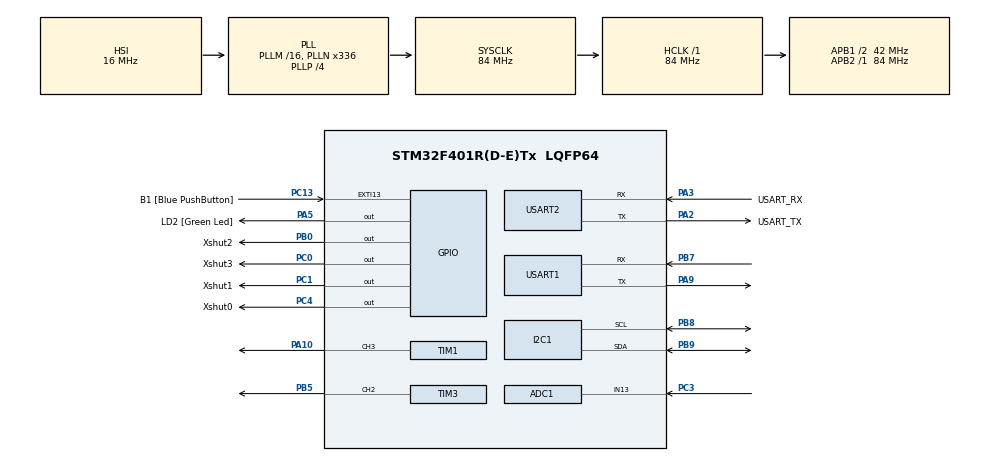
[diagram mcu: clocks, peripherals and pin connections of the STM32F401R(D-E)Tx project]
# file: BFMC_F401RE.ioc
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ADC1.Channel-5\#ChannelRegularConversion=ADC_CHANNEL_13
ADC1.ContinuousConvMode=ENABLE
ADC1.DMAContinuousRequests=ENABLE
ADC1.NbrOfConversion=1
ADC1.NbrOfConversionFlag=1
ADC1.Rank-5\#ChannelRegularConversion=1
ADC1.SamplingTime-5\#ChannelRegularConversion=ADC_SAMPLETIME_56CYCLES
ADC1.ScanConvMode=ENABLE
ADC1.master=1
Dma.ADC1.1.Direction=DMA_PERIPH_TO_MEMORY
Dma.ADC1.1.FIFOMode=DMA_FIFOMODE_DISABLE
Dma.ADC1.1.Instance=DMA2_Stream0
Dma.ADC1.1.MemDataAlignment=DMA_MDATAALIGN_WORD
Dma.ADC1.1.MemInc=DMA_MINC_ENABLE
Dma.ADC1.1.Mode=DMA_CIRCULAR
Dma.ADC1.1.PeriphDataAlignment=DMA_PDATAALIGN_WORD
Dma.ADC1.1.PeriphInc=DMA_PINC_DISABLE
Dma.ADC1.1.Priority=DMA_PRIORITY_LOW
Dma.I2C1_RX.2.Direction=DMA_PERIPH_TO_MEMORY
Dma.I2C1_RX.2.FIFOMode=DMA_FIFOMODE_DISABLE
Dma.I2C1_RX.2.Instance=DMA1_Stream0
Dma.I2C1_RX.2.MemDataAlignment=DMA_MDATAALIGN_BYTE
Dma.I2C1_RX.2.MemInc=DMA_MINC_ENABLE
Dma.I2C1_RX.2.Mode=DMA_NORMAL
Dma.I2C1_RX.2.PeriphDataAlignment=DMA_PDATAALIGN_BYTE
Dma.I2C1_RX.2.PeriphInc=DMA_PINC_DISABLE
Dma.I2C1_RX.2.Priority=DMA_PRIORITY_LOW
Dma.I2C1_TX.3.Direction=DMA_MEMORY_TO_PERIPH
Dma.I2C1_TX.3.FIFOMode=DMA_FIFOMODE_DISABLE
Dma.I2C1_TX.3.Instance=DMA1_Stream6
Dma.I2C1_TX.3.MemDataAlignment=DMA_MDATAALIGN_BYTE
Dma.I2C1_TX.3.MemInc=DMA_MINC_ENABLE
Dma.I2C1_TX.3.Mode=DMA_NORMAL
Dma.I2C1_TX.3.PeriphDataAlignment=DMA_PDATAALIGN_BYTE
Dma.I2C1_TX.3.PeriphInc=DMA_PINC_DISABLE
Dma.I2C1_TX.3.Priority=DMA_PRIORITY_LOW
Dma.Request0=USART2_RX
Dma.Request1=ADC1
Dma.Request2=I2C1_RX
Dma.Request3=I2C1_TX
Dma.USART2_RX.0.Direction=DMA_PERIPH_TO_MEMORY
Dma.USART2_RX.0.FIFOMode=DMA_FIFOMODE_DISABLE
Dma.USART2_RX.0.Instance=DMA1_Stream5
Dma.USART2_RX.0.MemDataAlignment=DMA_MDATAALIGN_BYTE
Dma.USART2_RX.0.MemInc=DMA_MINC_ENABLE
Dma.USART2_RX.0.Mode=DMA_NORMAL
Dma.USART2_RX.0.PeriphDataAlignment=DMA_PDATAALIGN_BYTE
Dma.USART2_RX.0.PeriphInc=DMA_PINC_DISABLE
Dma.USART2_RX.0.Priority=DMA_PRIORITY_LOW
FREERTOS.Tasks01=defaultTask,24,128,StartDefaultTask,Default,NULL,Dynamic,NULL,NULL
FREERTOS.configTOTAL_HEAP_SIZE=24000
Mcu.Family=STM32F4
Mcu.Name=STM32F401R(D-E)Tx
Mcu.Package=LQFP64
NVIC.DMA1_Stream0_IRQn=true\:5\:0\:false\:false\:true\:true\:false\:true\:true
NVIC.DMA1_Stream5_IRQn=true\:5\:0\:false\:false\:true\:true\:false\:true\:true
NVIC.DMA1_Stream6_IRQn=true\:5\:0\:false\:false\:true\:true\:false\:true\:true
NVIC.DMA2_Stream0_IRQn=true\:15\:0\:true\:false\:true\:true\:false\:true\:true
NVIC.I2C1_EV_IRQn=true\:5\:0\:false\:false\:true\:true\:true\:true\:true
NVIC.PriorityGroup=NVIC_PRIORITYGROUP_4
NVIC.TIM1_UP_TIM10_IRQn=true\:15\:0\:false\:false\:true\:false\:false\:true\:true
NVIC.TimeBase=TIM1_UP_TIM10_IRQn
NVIC.TimeBaseIP=TIM10
NVIC.USART2_IRQn=true\:5\:0\:false\:false\:true\:true\:true\:true\:true
PA10.Signal=S_TIM1_CH3
PA13.GPIO_Label=TMS
PA13.Mode=Serial_Wire
PA13.Signal=SYS_JTMS-SWDIO
PA14.GPIO_Label=TCK
PA14.Mode=Serial_Wire
PA14.Signal=SYS_JTCK-SWCLK
PA2.GPIO_Label=USART_TX
PA2.GPIO_Mode=GPIO_MODE_AF_PP
PA2.GPIO_PuPd=GPIO_NOPULL
PA2.GPIO_Speed=GPIO_SPEED_FREQ_LOW
PA2.Mode=Asynchronous
PA2.Signal=USART2_TX
PA3.GPIO_Label=USART_RX
PA3.GPIO_Mode=GPIO_MODE_AF_PP
PA3.GPIO_PuPd=GPIO_NOPULL
PA3.GPIO_Speed=GPIO_SPEED_FREQ_LOW
PA3.Mode=Asynchronous
PA3.Signal=USART2_RX
PA5.GPIO_Label=LD2 [Green Led]
PA5.GPIO_Mode=GPIO_MODE_OUTPUT_PP
PA5.GPIO_PuPd=GPIO_NOPULL
PA5.GPIO_Speed=GPIO_SPEED_FREQ_LOW
PA5.Signal=GPIO_Output
PA9.Mode=Asynchronous
PA9.Signal=USART1_TX
PB0.GPIO_Label=Xshut2
PB0.Signal=GPIO_Output
PB3.GPIO_Label=SWO
PB3.Signal=SYS_JTDO-SWO
PB5.Signal=S_TIM3_CH2
PB7.Mode=Asynchronous
PB7.Signal=USART1_RX
PB8.Mode=I2C
PB8.Signal=I2C1_SCL
PB9.Mode=I2C
PB9.Signal=I2C1_SDA
PC0.GPIO_Label=Xshut3
PC0.Signal=GPIO_Output
PC1.GPIO_Label=Xshut1
PC1.Signal=GPIO_Output
PC13-ANTI_TAMP.GPIO_Label=B1 [Blue PushButton]
PC13-ANTI_TAMP.GPIO_ModeDefaultEXTI=GPIO_MODE_IT_FALLING
PC13-ANTI_TAMP.GPIO_PuPd=GPIO_NOPULL
PC13-ANTI_TAMP.Signal=GPXTI13
PC14-OSC32_IN.Mode=LSE-External-Oscillator
PC14-OSC32_IN.Signal=RCC_OSC32_IN
PC15-OSC32_OUT.Mode=LSE-External-Oscillator
PC15-OSC32_OUT.Signal=RCC_OSC32_OUT
PC3.Signal=ADCx_IN13
PC4.GPIO_Label=Xshut0
PC4.Signal=GPIO_Output
PH0\ -\ OSC_IN.Mode=HSE-External-Clock-Source
PH0\ -\ OSC_IN.Signal=RCC_OSC_IN
PH1\ -\ OSC_OUT.Mode=HSE-External-Clock-Source
PH1\ -\ OSC_OUT.Signal=RCC_OSC_OUT
ProjectManager.HeapSize=0x200
ProjectManager.StackSize=0x400
ProjectManager.TargetToolchain=STM32CubeIDE
RCC.48MHZClocksFreq_Value=48000000
RCC.AHBFreq_Value=84000000
RCC.APB1CLKDivider=RCC_HCLK_DIV2
RCC.APB1Freq_Value=42000000
RCC.APB1TimFreq_Value=84000000
RCC.APB2Freq_Value=84000000
RCC.APB2TimFreq_Value=84000000
RCC.CortexFreq_Value=84000000
RCC.HCLKFreq_Value=84000000
RCC.HSE_VALUE=8000000
RCC.HSI_VALUE=16000000
RCC.PLLN=336
RCC.PLLP=RCC_PLLP_DIV4
RCC.PLLQ=7
RCC.SYSCLKFreq_VALUE=84000000
RCC.SYSCLKSource=RCC_SYSCLKSOURCE_PLLCLK
RCC.VCOOutputFreq_Value=336000000
SH.ADCx_IN13.0=ADC1_IN13,IN13
SH.S_TIM1_CH3.0=TIM1_CH3,PWM Generation3 CH3
SH.S_TIM3_CH2.0=TIM3_CH2,PWM Generation2 CH2
TIM1.Channel-PWM\ Generation3\ CH3=TIM_CHANNEL_3
TIM1.Period=59999
TIM1.Prescaler=27
TIM3.Channel-PWM\ Generation2\ CH2=TIM_CHANNEL_2
TIM3.Period=59999
TIM3.Prescaler=27
USART1.VirtualMode=VM_ASYNC
USART2.VirtualMode=VM_ASYNC
VP_FREERTOS_VS_CMSIS_V2.Mode=CMSIS_V2
VP_SYS_VS_tim10.Mode=TIM10
VP_TIM1_VS_ClockSourceINT.Mode=Internal
VP_TIM3_VS_ClockSourceINT.Mode=Internal
board=NUCLEO-F401RE

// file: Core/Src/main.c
/* USER CODE BEGIN Header */
/**
 ******************************************************************************
 * @file           : main.c
 * @brief          : Main program body
 ******************************************************************************
 * @attention
 *
 * Copyright (c) 2024 STMicroelectronics.
 * All rights reserved.
 *
 * This software is licensed under terms that can be found in the LICENSE file
 * in the root directory of this software component.
 * If no LICENSE file comes with this software, it is provided AS-IS.
 *
 ******************************************************************************
 */
/* USER CODE END Header */
#include "main.h"
#include "cmsis_os.h"

/* USER CODE BEGIN Includes */
#include "FreeRTOS.h"
#include "Servo/Servo.h"
#include "Motor/MotorControl.h"
#include "GPIO/GPIOHandler.h"
#include "Serial_Monitor.h"
#include "SpeedControlDuration/SpeedControlDuration.h"
#include "BNOPublisher/BNOPublisher.h"
#include "InstantConsumption/InstantConsumption.h"
#include "BattPublisher/BattPublisher.h"
#include "DistancePublisher/DistancePublisher.h"
#include "SteeringMotor/SteeringMotor.h"
#include "I2C_Handler/I2C_Handler.h"
#include "VL53_Handler/VL53_Handler.h"
/* USER CODE END Includes */

/* USER CODE BEGIN PD */
#define BATT_ADC_CHANNEL 		ADC_CHANNEL_13
#define INST_ADC_CHANNEL 		ADC_CHANNEL_11
/* USER CODE END PD */

/* USER CODE BEGIN PM */
void SystemReset(void *Handler, char *InMsg, char *Resp);
/* USER CODE END PM */

ADC_HandleTypeDef hadc1;
DMA_HandleTypeDef hdma_adc1;

I2C_HandleTypeDef hi2c1;
DMA_HandleTypeDef hdma_i2c1_rx;
DMA_HandleTypeDef hdma_i2c1_tx;

TIM_HandleTypeDef htim1;
TIM_HandleTypeDef htim3;

UART_HandleTypeDef huart1;
UART_HandleTypeDef huart2;
DMA_HandleTypeDef hdma_usart2_rx;

/* Definitions for defaultTask */
osThreadId_t defaultTaskHandle;
const osThreadAttr_t defaultTask_attributes = { .name = "defaultTask",
		.stack_size = 1024 * 4, .priority = (osPriority_t) osPriorityNormal, };
/* USER CODE BEGIN PV */
uint32_t Channels = BATT_ADC_CHANNEL;
//Servo_HandleStruct Servo;
I2C_OS_HandlerStruct i2c_dev = { .hi2c = &hi2c1, };
GPIO_HandlerStruct Blinker = { .Pin = LD2_Pin, .Port = LD2_GPIO_Port };
Steering_HandlerStruct SteerControl =
		{ .htim = &htim3, .Channel = TIM_CHANNEL_2, .Offset = 2,
				.negLimit = -25, .posLimit = 25, };
Motor_HandlerStruct Motor;
ADC_HandleStruct ADC_Handler = (ADC_HandleStruct ) { .hadc = &hadc1, .Channels =
				&Channels, .NumofChannel = 1, };

VL53L0X_Dev_t Vl53l0x[4] = { 0 };

Vl53l0x_HandlerStruct Vl53l0x_Dev_0 = { .XshutPin = { .Port = Xshut0_GPIO_Port,
		.Pin =
		Xshut0_Pin },
//		.XshutPin = {.Port = GPIOC, .Pin = GPIO_PIN_5},
		.Dev =& Vl53l0x[0],
		 .Address = 0x31 << 1 };
Vl53l0x_HandlerStruct Vl53l0x_Dev_1 = { .XshutPin = { .Port = Xshut1_GPIO_Port,
		.Pin =
		Xshut1_Pin },
//		.XshutPin = {.Port = GPIOC, .Pin = GPIO_PIN_6},
		.Dev = &Vl53l0x[1],
		 .Address = 0x32 << 1 };
Vl53l0x_HandlerStruct Vl53l0x_Dev_2 = { .XshutPin = { .Port = Xshut2_GPIO_Port,
		.Pin =
		Xshut2_Pin },
		.Dev = &Vl53l0x[2],.Address = 0x33 << 1 };

Vl53l0x_HandlerStruct Vl53l0x_Dev_3 = { .XshutPin = { .Port = Xshut3_GPIO_Port,
		.Pin =
		Xshut3_Pin },.Dev = &Vl53l0x[3],  .Address = 0x34 << 1 };

SerialMonitor_Struct SerialMon;
UARTHandler_Struct UART = { .RxBufferSize = 100, .huart = &huart2 };
UARTHandler_Struct UART1 = { .RxBufferSize = 100, .huart = &huart1 };

BNOPublisher_Struct BNOPub = (BNOPublisher_Struct ) { .BNO_hi2c = &i2c_dev,
				.Period = 10, .UART_Handler = &UART, };

ISPublisher_Struct ISPub = (ISPublisher_Struct ) { .ADC_Handler = &ADC_Handler,
				.ADC_Channel = INST_ADC_CHANNEL, .Period = 50, .UART_Handler =
						&UART, };

DistPublisher_Struct DistPub = { .i2c_dev = &i2c_dev, .UART_Handler = &UART,
		.Period = 10, };

BattPublisher_Struct BattPub = (BattPublisher_Struct ) { .ADC_Handler =
				&ADC_Handler, .ADC_Channel = BATT_ADC_CHANNEL, .Period = 50,
				.UART_Handler = &UART, };

SpeedControlDuration_HandleStruct SpeedController =
		(SpeedControlDuration_HandleStruct ) { .Motor = &Motor, .Steer =
						&SteerControl, .UART = &UART };
SerialMonitor_CBStruct SerMon_CBTable[] = { { .Function = Motor_setSpeedCMD,
		.ObjHandler = (void*) &Motor }, { .Function = Steering_SetAngleCMD,
		.ObjHandler = (void*) &SteerControl }, { NULL, NULL }, { NULL, NULL }, {
		.Function = BattPublisher_EnPubCMD, .ObjHandler = (void*) &BattPub }, {
		.Function = ISPublisher_EnPubCMD, .ObjHandler = (void*) &ISPub }, {
		.Function = BNOPublisher_EnPubCMD, .ObjHandler = (void*) &BNOPub }, {
		.Function = DistPublisher_EnPubCMD, .ObjHandler = (void*) &DistPub }, {
		.Function = SpeedControlDuration_setVCDCMD, .ObjHandler =
				(void*) &SpeedController }, { .Function = SystemReset,
		.ObjHandler = NULL } };

SerialMonitor_Struct SerMon = { .UART = &UART, .Callback = SerMon_CBTable,
		.CallbackSize = sizeof(SerMon_CBTable) / sizeof(SerMon_CBTable[0]) };
/* USER CODE END PV */

void SystemClock_Config(void);
static void MX_GPIO_Init(void);
static void MX_DMA_Init(void);
static void MX_USART2_UART_Init(void);
static void MX_TIM3_Init(void);
static void MX_I2C1_Init(void);
static void MX_TIM1_Init(void);
static void MX_USART1_UART_Init(void);
static void MX_ADC1_Init(void);
void StartDefaultTask(void *argument);

int main(void) {

	/* MCU Configuration--------------------------------------------------------*/

	/* Reset of all peripherals, Initializes the Flash interface and the Systick. */
	HAL_Init();

	/* USER CODE BEGIN Init */
//	NVIC_SystemReset();
	/* USER CODE END Init */

	/* Configure the system clock */
	SystemClock_Config();

	/* Initialize all configured peripherals */
	MX_GPIO_Init();
	MX_DMA_Init();
	MX_USART2_UART_Init();
	MX_TIM3_Init();
	MX_I2C1_Init();
	MX_TIM1_Init();
	MX_USART1_UART_Init();
	MX_ADC1_Init();
	/* USER CODE BEGIN 2 */
//	uint8_t ret = 0;
//	int i = 0;
//	HAL_GPIO_WritePin(Xshut0_GPIO_Port, Xshut0_Pin, GPIO_PIN_RESET);
//	HAL_GPIO_WritePin(Xshut1_GPIO_Port, Xshut1_Pin, GPIO_PIN_RESET);
//	HAL_GPIO_WritePin(Xshut2_GPIO_Port, Xshut2_Pin, GPIO_PIN_RESET);
//	HAL_GPIO_WritePin(Xshut3_GPIO_Port, Xshut3_Pin, GPIO_PIN_RESET);
////	HAL_GPIO_WritePin(Xshut1_GPIO_Port, Xshut1_Pin, GPIO_PIN_SET);
//	for (i = 0; i < 128; i++) {
//		ret = HAL_I2C_IsDeviceReady(&hi2c1, (uint16_t) i << 1 | 0, 5, 1000);
//		if (ret == HAL_OK) {
//			printf("OK\r\n");
//		}
//	}
//	HAL_GPIO_WritePin(Xshut0_GPIO_Port, Xshut0_Pin, GPIO_PIN_RESET);
	HAL_GPIO_WritePin(Xshut0_GPIO_Port, Xshut0_Pin, GPIO_PIN_RESET);
	HAL_GPIO_WritePin(Xshut1_GPIO_Port, Xshut1_Pin, GPIO_PIN_RESET);
	HAL_GPIO_WritePin(Xshut2_GPIO_Port, Xshut2_Pin, GPIO_PIN_RESET);
	HAL_GPIO_WritePin(Xshut3_GPIO_Port, Xshut3_Pin, GPIO_PIN_RESET);

	/* USER CODE END 2 */

	/* Init scheduler */
	osKernelInitialize();

	/* Create the thread(s) */
	/* creation of defaultTask */
	defaultTaskHandle = osThreadNew(StartDefaultTask, NULL,
			&defaultTask_attributes);

	/* Start scheduler */
	osKernelStart();

	/* We should never get here as control is now taken by the scheduler */
	/* Infinite loop */
	while (1) {

	}
}

void SystemClock_Config(void) {
	RCC_OscInitTypeDef RCC_OscInitStruct = { 0 };
	RCC_ClkInitTypeDef RCC_ClkInitStruct = { 0 };

	/** Configure the main internal regulator output voltage
	 */
	__HAL_RCC_PWR_CLK_ENABLE();
	__HAL_PWR_VOLTAGESCALING_CONFIG(PWR_REGULATOR_VOLTAGE_SCALE2);

	/** Initializes the RCC Oscillators according to the specified parameters
	 * in the RCC_OscInitTypeDef structure.
	 */
	RCC_OscInitStruct.OscillatorType = RCC_OSCILLATORTYPE_HSI;
	RCC_OscInitStruct.HSIState = RCC_HSI_ON;
	RCC_OscInitStruct.HSICalibrationValue = RCC_HSICALIBRATION_DEFAULT;
	RCC_OscInitStruct.PLL.PLLState = RCC_PLL_ON;
	RCC_OscInitStruct.PLL.PLLSource = RCC_PLLSOURCE_HSI;
	RCC_OscInitStruct.PLL.PLLM = 16;
	RCC_OscInitStruct.PLL.PLLN = 336;
	RCC_OscInitStruct.PLL.PLLP = RCC_PLLP_DIV4;
	RCC_OscInitStruct.PLL.PLLQ = 7;
	if (HAL_RCC_OscConfig(&RCC_OscInitStruct) != HAL_OK) {
		Error_Handler();
	}

	/** Initializes the CPU, AHB and APB buses clocks
	 */
	RCC_ClkInitStruct.ClockType = RCC_CLOCKTYPE_HCLK | RCC_CLOCKTYPE_SYSCLK
			| RCC_CLOCKTYPE_PCLK1 | RCC_CLOCKTYPE_PCLK2;
	RCC_ClkInitStruct.SYSCLKSource = RCC_SYSCLKSOURCE_PLLCLK;
	RCC_ClkInitStruct.AHBCLKDivider = RCC_SYSCLK_DIV1;
	RCC_ClkInitStruct.APB1CLKDivider = RCC_HCLK_DIV2;
	RCC_ClkInitStruct.APB2CLKDivider = RCC_HCLK_DIV1;

	if (HAL_RCC_ClockConfig(&RCC_ClkInitStruct, FLASH_LATENCY_2) != HAL_OK) {
		Error_Handler();
	}
}

static void MX_ADC1_Init(void) {

	ADC_ChannelConfTypeDef sConfig = { 0 };

	/** Configure the global features of the ADC (Clock, Resolution, Data Alignment and number of conversion)
	 */
	hadc1.Instance = ADC1;
	hadc1.Init.ClockPrescaler = ADC_CLOCK_SYNC_PCLK_DIV4;
	hadc1.Init.Resolution = ADC_RESOLUTION_12B;
	hadc1.Init.ScanConvMode = ENABLE;
	hadc1.Init.ContinuousConvMode = ENABLE;
	hadc1.Init.DiscontinuousConvMode = DISABLE;
	hadc1.Init.ExternalTrigConvEdge = ADC_EXTERNALTRIGCONVEDGE_NONE;
	hadc1.Init.ExternalTrigConv = ADC_SOFTWARE_START;
	hadc1.Init.DataAlign = ADC_DATAALIGN_RIGHT;
	hadc1.Init.NbrOfConversion = 1;
	hadc1.Init.DMAContinuousRequests = ENABLE;
	hadc1.Init.EOCSelection = ADC_EOC_SINGLE_CONV;
	if (HAL_ADC_Init(&hadc1) != HAL_OK) {
		Error_Handler();
	}

	/** Configure for the selected ADC regular channel its corresponding rank in the sequencer and its sample time.
	 */
	sConfig.Channel = ADC_CHANNEL_13;
	sConfig.Rank = 1;
	sConfig.SamplingTime = ADC_SAMPLETIME_56CYCLES;
	if (HAL_ADC_ConfigChannel(&hadc1, &sConfig) != HAL_OK) {
		Error_Handler();
	}

}

static void MX_I2C1_Init(void) {

	hi2c1.Instance = I2C1;
	hi2c1.Init.ClockSpeed = 100000;
	hi2c1.Init.DutyCycle = I2C_DUTYCYCLE_2;
	hi2c1.Init.OwnAddress1 = 0;
	hi2c1.Init.AddressingMode = I2C_ADDRESSINGMODE_7BIT;
	hi2c1.Init.DualAddressMode = I2C_DUALADDRESS_DISABLE;
	hi2c1.Init.OwnAddress2 = 0;
	hi2c1.Init.GeneralCallMode = I2C_GENERALCALL_DISABLE;
	hi2c1.Init.NoStretchMode = I2C_NOSTRETCH_DISABLE;
	if (HAL_I2C_Init(&hi2c1) != HAL_OK) {
		Error_Handler();
	}

}

static void MX_TIM1_Init(void) {

	TIM_ClockConfigTypeDef sClockSourceConfig = { 0 };
	TIM_MasterConfigTypeDef sMasterConfig = { 0 };
	TIM_OC_InitTypeDef sConfigOC = { 0 };
	TIM_BreakDeadTimeConfigTypeDef sBreakDeadTimeConfig = { 0 };

	htim1.Instance = TIM1;
	htim1.Init.Prescaler = 27;
	htim1.Init.CounterMode = TIM_COUNTERMODE_UP;
	htim1.Init.Period = 59999;
	htim1.Init.ClockDivision = TIM_CLOCKDIVISION_DIV1;
	htim1.Init.RepetitionCounter = 0;
	htim1.Init.AutoReloadPreload = TIM_AUTORELOAD_PRELOAD_DISABLE;
	if (HAL_TIM_Base_Init(&htim1) != HAL_OK) {
		Error_Handler();
	}
	sClockSourceConfig.ClockSource = TIM_CLOCKSOURCE_INTERNAL;
	if (HAL_TIM_ConfigClockSource(&htim1, &sClockSourceConfig) != HAL_OK) {
		Error_Handler();
	}
	if (HAL_TIM_PWM_Init(&htim1) != HAL_OK) {
		Error_Handler();
	}
	sMasterConfig.MasterOutputTrigger = TIM_TRGO_RESET;
	sMasterConfig.MasterSlaveMode = TIM_MASTERSLAVEMODE_DISABLE;
	if (HAL_TIMEx_MasterConfigSynchronization(&htim1, &sMasterConfig)
			!= HAL_OK) {
		Error_Handler();
	}
	sConfigOC.OCMode = TIM_OCMODE_PWM1;
	sConfigOC.Pulse = 0;
	sConfigOC.OCPolarity = TIM_OCPOLARITY_HIGH;
	sConfigOC.OCNPolarity = TIM_OCNPOLARITY_HIGH;
	sConfigOC.OCFastMode = TIM_OCFAST_DISABLE;
	sConfigOC.OCIdleState = TIM_OCIDLESTATE_RESET;
	sConfigOC.OCNIdleState = TIM_OCNIDLESTATE_RESET;
	if (HAL_TIM_PWM_ConfigChannel(&htim1, &sConfigOC, TIM_CHANNEL_3)
			!= HAL_OK) {
		Error_Handler();
	}
	sBreakDeadTimeConfig.OffStateRunMode = TIM_OSSR_DISABLE;
	sBreakDeadTimeConfig.OffStateIDLEMode = TIM_OSSI_DISABLE;
	sBreakDeadTimeConfig.LockLevel = TIM_LOCKLEVEL_OFF;
	sBreakDeadTimeConfig.DeadTime = 0;
	sBreakDeadTimeConfig.BreakState = TIM_BREAK_DISABLE;
	sBreakDeadTimeConfig.BreakPolarity = TIM_BREAKPOLARITY_HIGH;
	sBreakDeadTimeConfig.AutomaticOutput = TIM_AUTOMATICOUTPUT_DISABLE;
	if (HAL_TIMEx_ConfigBreakDeadTime(&htim1, &sBreakDeadTimeConfig)
			!= HAL_OK) {
		Error_Handler();
	}
	HAL_TIM_MspPostInit(&htim1);

}

static void MX_TIM3_Init(void) {

	TIM_ClockConfigTypeDef sClockSourceConfig = { 0 };
	TIM_MasterConfigTypeDef sMasterConfig = { 0 };
	TIM_OC_InitTypeDef sConfigOC = { 0 };

	htim3.Instance = TIM3;
	htim3.Init.Prescaler = 27;
	htim3.Init.CounterMode = TIM_COUNTERMODE_UP;
	htim3.Init.Period = 59999;
	htim3.Init.ClockDivision = TIM_CLOCKDIVISION_DIV1;
	htim3.Init.AutoReloadPreload = TIM_AUTORELOAD_PRELOAD_DISABLE;
	if (HAL_TIM_Base_Init(&htim3) != HAL_OK) {
		Error_Handler();
	}
	sClockSourceConfig.ClockSource = TIM_CLOCKSOURCE_INTERNAL;
	if (HAL_TIM_ConfigClockSource(&htim3, &sClockSourceConfig) != HAL_OK) {
		Error_Handler();
	}
	if (HAL_TIM_PWM_Init(&htim3) != HAL_OK) {
		Error_Handler();
	}
	sMasterConfig.MasterOutputTrigger = TIM_TRGO_RESET;
	sMasterConfig.MasterSlaveMode = TIM_MASTERSLAVEMODE_DISABLE;
	if (HAL_TIMEx_MasterConfigSynchronization(&htim3, &sMasterConfig)
			!= HAL_OK) {
		Error_Handler();
	}
	sConfigOC.OCMode = TIM_OCMODE_PWM1;
	sConfigOC.Pulse = 0;
	sConfigOC.OCPolarity = TIM_OCPOLARITY_HIGH;
	sConfigOC.OCFastMode = TIM_OCFAST_DISABLE;
	if (HAL_TIM_PWM_ConfigChannel(&htim3, &sConfigOC, TIM_CHANNEL_2)
			!= HAL_OK) {
		Error_Handler();
	}
	HAL_TIM_MspPostInit(&htim3);

}

static void MX_USART1_UART_Init(void) {

	huart1.Instance = USART1;
	huart1.Init.BaudRate = 115200;
	huart1.Init.WordLength = UART_WORDLENGTH_8B;
	huart1.Init.StopBits = UART_STOPBITS_1;
	huart1.Init.Parity = UART_PARITY_NONE;
	huart1.Init.Mode = UART_MODE_TX_RX;
	huart1.Init.HwFlowCtl = UART_HWCONTROL_NONE;
	huart1.Init.OverSampling = UART_OVERSAMPLING_16;
	if (HAL_UART_Init(&huart1) != HAL_OK) {
		Error_Handler();
	}

}

static void MX_USART2_UART_Init(void) {

	huart2.Instance = USART2;
	huart2.Init.BaudRate = 115200;
	huart2.Init.WordLength = UART_WORDLENGTH_8B;
	huart2.Init.StopBits = UART_STOPBITS_1;
	huart2.Init.Parity = UART_PARITY_NONE;
	huart2.Init.Mode = UART_MODE_TX_RX;
	huart2.Init.HwFlowCtl = UART_HWCONTROL_NONE;
	huart2.Init.OverSampling = UART_OVERSAMPLING_16;
	if (HAL_UART_Init(&huart2) != HAL_OK) {
		Error_Handler();
	}

}

static void MX_DMA_Init(void) {

	/* DMA controller clock enable */
	__HAL_RCC_DMA1_CLK_ENABLE();
	__HAL_RCC_DMA2_CLK_ENABLE();

	/* DMA interrupt init */
	/* DMA1_Stream0_IRQn interrupt configuration */
	HAL_NVIC_SetPriority(DMA1_Stream0_IRQn, 5, 0);
	HAL_NVIC_EnableIRQ(DMA1_Stream0_IRQn);
	/* DMA1_Stream5_IRQn interrupt configuration */
	HAL_NVIC_SetPriority(DMA1_Stream5_IRQn, 5, 0);
	HAL_NVIC_EnableIRQ(DMA1_Stream5_IRQn);
	/* DMA1_Stream6_IRQn interrupt configuration */
	HAL_NVIC_SetPriority(DMA1_Stream6_IRQn, 5, 0);
	HAL_NVIC_EnableIRQ(DMA1_Stream6_IRQn);
	/* DMA2_Stream0_IRQn interrupt configuration */
	HAL_NVIC_SetPriority(DMA2_Stream0_IRQn, 15, 0);
	HAL_NVIC_EnableIRQ(DMA2_Stream0_IRQn);

}

static void MX_GPIO_Init(void) {
	GPIO_InitTypeDef GPIO_InitStruct = { 0 };

	/* GPIO Ports Clock Enable */
	__HAL_RCC_GPIOC_CLK_ENABLE();
	__HAL_RCC_GPIOH_CLK_ENABLE();
	__HAL_RCC_GPIOA_CLK_ENABLE();
	__HAL_RCC_GPIOB_CLK_ENABLE();

	/*Configure GPIO pin Output Level */
	HAL_GPIO_WritePin(GPIOC, Xshut3_Pin | Xshut1_Pin | Xshut0_Pin,
			GPIO_PIN_RESET);

	/*Configure GPIO pin Output Level */
	HAL_GPIO_WritePin(LD2_GPIO_Port, LD2_Pin, GPIO_PIN_RESET);

	/*Configure GPIO pin Output Level */
	HAL_GPIO_WritePin(Xshut2_GPIO_Port, Xshut2_Pin, GPIO_PIN_RESET);

	/*Configure GPIO pin : B1_Pin */
	GPIO_InitStruct.Pin = B1_Pin;
	GPIO_InitStruct.Mode = GPIO_MODE_IT_FALLING;
	GPIO_InitStruct.Pull = GPIO_NOPULL;
	HAL_GPIO_Init(B1_GPIO_Port, &GPIO_InitStruct);

	/*Configure GPIO pins : Xshut3_Pin Xshut1_Pin Xshut0_Pin */
	GPIO_InitStruct.Pin = Xshut3_Pin | Xshut1_Pin | Xshut0_Pin;
	GPIO_InitStruct.Mode = GPIO_MODE_OUTPUT_PP;
	GPIO_InitStruct.Pull = GPIO_NOPULL;
	GPIO_InitStruct.Speed = GPIO_SPEED_FREQ_LOW;
	HAL_GPIO_Init(GPIOC, &GPIO_InitStruct);

	/*Configure GPIO pin : LD2_Pin */
	GPIO_InitStruct.Pin = LD2_Pin;
	GPIO_InitStruct.Mode = GPIO_MODE_OUTPUT_PP;
	GPIO_InitStruct.Pull = GPIO_NOPULL;
	GPIO_InitStruct.Speed = GPIO_SPEED_FREQ_LOW;
	HAL_GPIO_Init(LD2_GPIO_Port, &GPIO_InitStruct);

	/*Configure GPIO pin : Xshut2_Pin */
	GPIO_InitStruct.Pin = Xshut2_Pin;
	GPIO_InitStruct.Mode = GPIO_MODE_OUTPUT_PP;
	GPIO_InitStruct.Pull = GPIO_NOPULL;
	GPIO_InitStruct.Speed = GPIO_SPEED_FREQ_LOW;
	HAL_GPIO_Init(Xshut2_GPIO_Port, &GPIO_InitStruct);

}

/* USER CODE BEGIN 4 */
void HAL_UARTEx_RxEventCallback(UART_HandleTypeDef *huart, uint16_t Size) {
	if (huart == UART.huart) {
		HAL_GPIO_TogglePin(LD2_GPIO_Port, LD2_Pin);
		UART_RcvToIdle_CB(&UART, Size);
	}
}

void HAL_UART_RxCpltCallback(UART_HandleTypeDef *huart) {
	if (huart == UART.huart) {
		UART_Rcv_CB(&UART);
	}
}
void HAL_I2C_MemRxCpltCallback(I2C_HandleTypeDef *hi2c) {
	if (i2c_dev.hi2c == hi2c) {
		I2C_OS_MEM_RxCpltCB(&i2c_dev);
	}
}
void HAL_I2C_MemTxCpltCallback(I2C_HandleTypeDef *hi2c) {
	if (i2c_dev.hi2c == hi2c) {
		I2C_OS_MEM_TxCpltCB(&i2c_dev);
	}
}
void HAL_I2C_MasterTxCpltCallback(I2C_HandleTypeDef *hi2c) {
	if (i2c_dev.hi2c == hi2c) {
		I2C_OS_MasterTxCpltCB(&i2c_dev);
	}
}
void HAL_I2C_MasterRxCpltCallback(I2C_HandleTypeDef *hi2c) {
	if (i2c_dev.hi2c == hi2c) {
		I2C_OS_MasterRxCpltCB(&i2c_dev);
	}
}

void SystemReset(void *Handler, char *InMsg, char *Resp) {
	NVIC_SystemReset();
}

/* USER CODE END 4 */

void StartDefaultTask(void *argument) {
	/* USER CODE BEGIN 5 */
	UART_Init(&UART, &huart2);
	UART_Init(&UART1, &huart1);
	I2C_OS_Init(&i2c_dev, &hi2c1);
//	ADC_Start_DMA(&ADC_Handler);
	Motor_Init(&Motor, &htim1, TIM_CHANNEL_3);

	SerialMonitor_Start(&SerMon);
	DistPub.NumofSens = 4;
	DistPub.Vl53l0 = pvPortMalloc(
			DistPub.NumofSens * sizeof(Vl53l0x_HandlerStruct));
	DistPub.Vl53l0[0] = Vl53l0x_Dev_0;
	DistPub.Vl53l0[1] = Vl53l0x_Dev_1;
	DistPub.Vl53l0[2] = Vl53l0x_Dev_2;
	DistPub.Vl53l0[3] = Vl53l0x_Dev_3;
//	Servo_Init(&Servo, &htim3, TIM_CHANNEL_2, 25, 0);

	BNOPublisher_Start(&BNOPub);
	DistPublisher_Start(&DistPub);
//	ISPublisher_Start(&ISPub);
//	BattPublisher_Start(&BattPub);
	SpeedControlDuration_Init(&SpeedController);
	Motor_Start(&Motor);
	Steering_Start(&SteerControl);
//	Servo_Start(&Servo);
	Motor_setSpeed(&Motor, 0);
//	St
//	SerialMonitor_Start(&SerialMon);
//	Motor_setSpeed(&Motor, 0);
	UART_printf(&UART, "I am awake!!\r\n");
//	Motor_setSpeed(&Motor, 50);
	/* Infinite loop */
//	int status = 0;
//	for (int i = 0;i < 255;i++) {
//		status = I2C_OS_IsDeviceReady(&i2c_dev, i, 5, 100);
//		if (status == HAL_OK) {
//			HAL_GPIO_TogglePin(LD2_GPIO_Port, LD2_Pin);
//		}
//	}
	for (;;) {
		GPIO_TogglePin(Blinker);
		osDelay(500);
	}
	/* USER CODE END 5 */
}

void HAL_TIM_PeriodElapsedCallback(TIM_HandleTypeDef *htim) {
	if (htim->Instance == TIM10) {
		HAL_IncTick();
	}
}

void Error_Handler(void) {
	__disable_irq();
	while (1) {
	}
}
